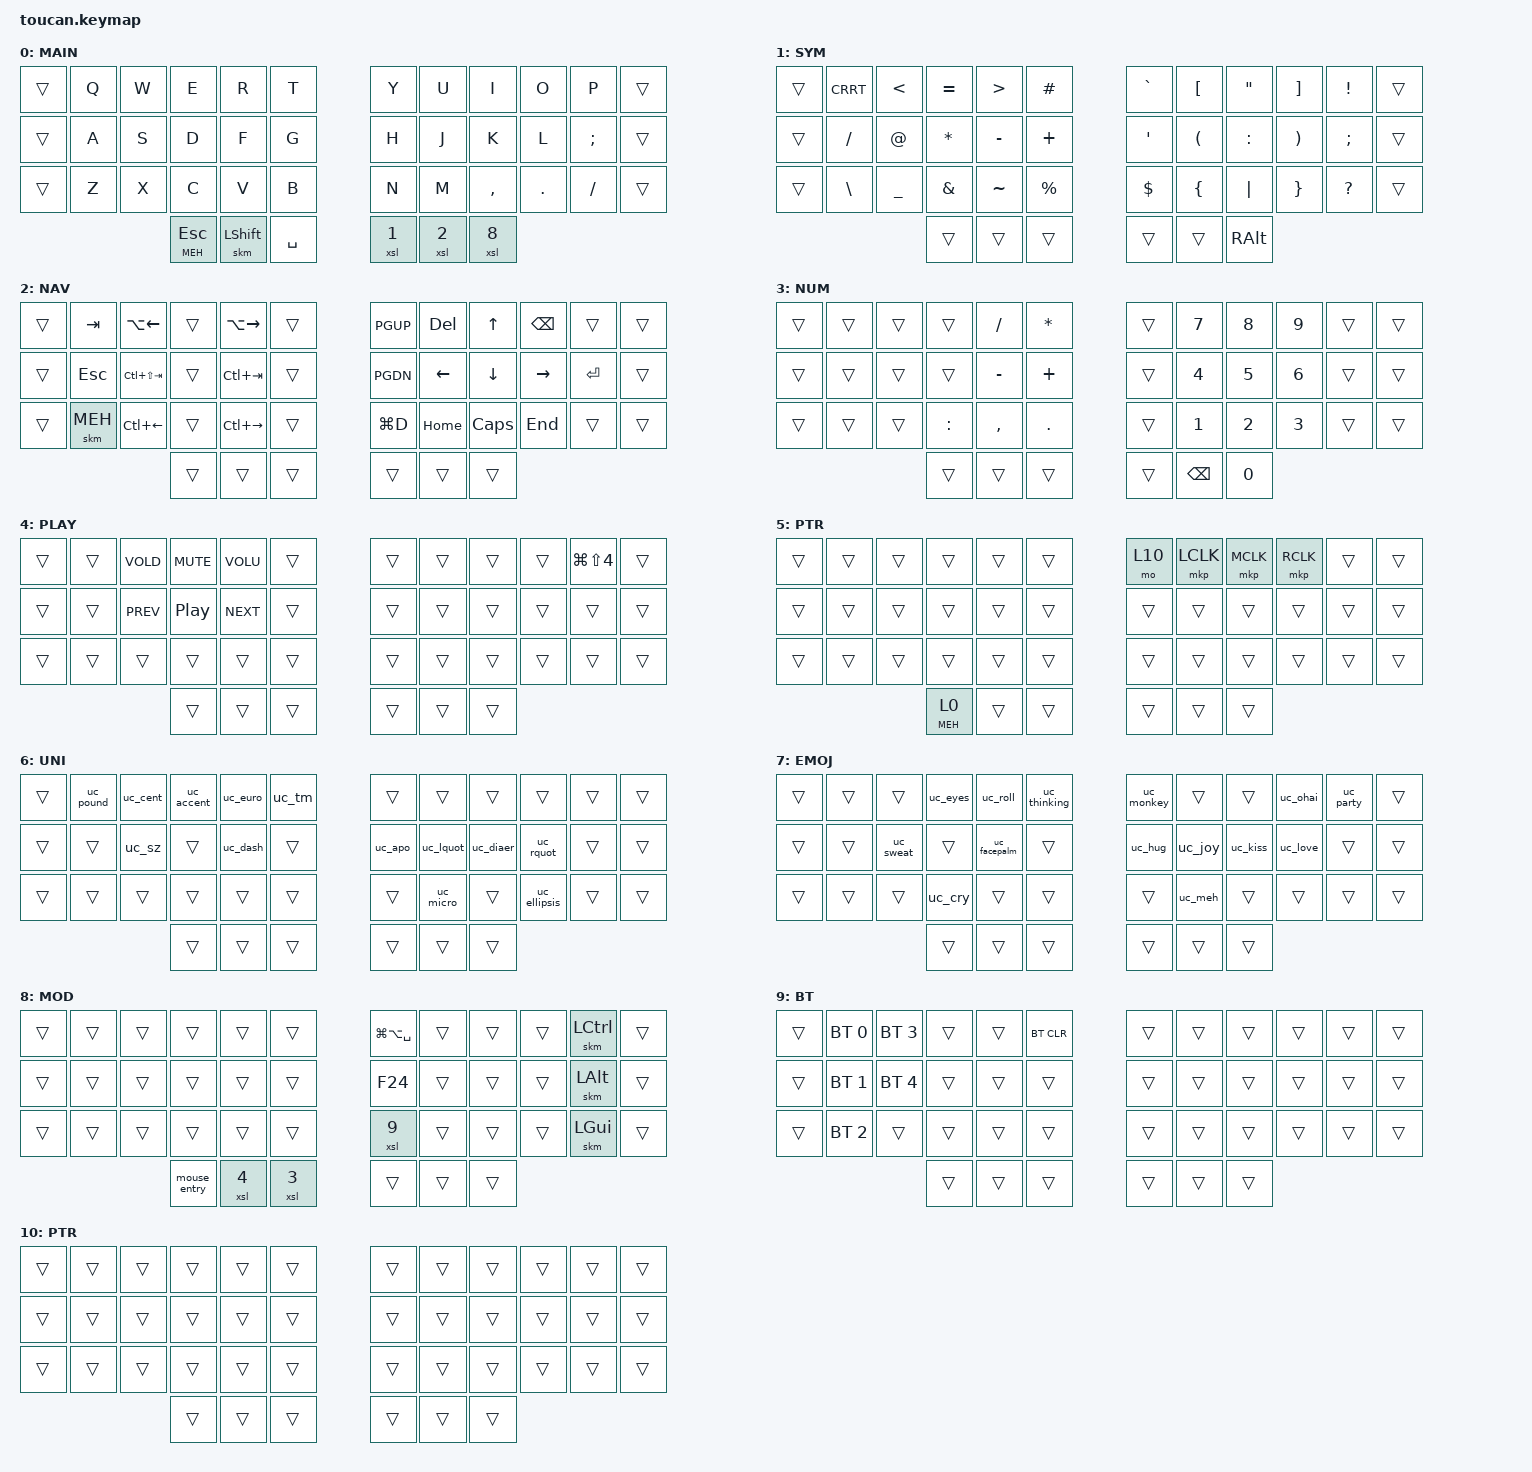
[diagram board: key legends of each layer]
/*
 * Copyright (c) 2020 The ZMK Contributors
 *
 * SPDX-License-Identifier: MIT
 */

#include <behaviors.dtsi>
#include <input/processors.dtsi>
#include <zephyr/dt-bindings/input/input-event-codes.h>
#include <dt-bindings/zmk/keys.h>
#include <dt-bindings/zmk/bt.h>
#include <dt-bindings/zmk/pointing.h>


#define HYPER (LG(LS(LA(LCTRL))))
#define MEH (LG(LA(LCTRL)))

&sk {
	release-after-ms = <1000>;
	quick-release;
};

/ {
		behaviors {
			meh_esc: meh_esc {
			    compatible = "zmk,behavior-hold-tap";
			    #binding-cells = <2>;
			    flavor = "hold-preferred";
			    tapping-term-ms = <200>;
			    quick-tap-ms = <200>;
			    bindings = <&kp>, <&kp>;
			};
			meh_base: meh_base {
			    compatible = "zmk,behavior-hold-tap";
			    #binding-cells = <2>;
			    flavor = "hold-preferred";
			    tapping-term-ms = <200>;
			    quick-tap-ms = <200>;
			    bindings = <&kp>, <&to>;
			};
			mouse_entry: mouse_entry {
			    compatible = "zmk,behavior-tap-dance";
			    #binding-cells = <0>;
			    tapping-term-ms = <200>;
			    bindings = <&xsl 6>, <&to 5>;
			};
			skm: sticky_mods {
			    compatible = "zmk,behavior-sticky-key";
			    #binding-cells = <1>;
			    release-after-ms = <5000>;
			    quick-release;
			    ignore-modifiers;
			    bindings = <&kp>;
			};
		};

		input_processors {
			touch_pointer_layer: touch_pointer_layer {
				compatible = "zmk,input-processor-behaviors";
				#input-processor-cells = <0>;
				codes = <INPUT_BTN_TOUCH>;
				bindings = <&mo 5>;
			};
		};

		macros {
	        // A sticky layer that first turns off every other layer. A plain
	        // &sl ends only on a keycode, so layer keys stack layers.
	        xsl: exclusive_sticky_layer {
	            compatible = "zmk,behavior-macro-one-param";
	            #binding-cells = <1>;
	            wait-ms = <0>;
	            tap-ms = <0>;
	            bindings
	                = <&macro_tap &to 0>
	                , <&macro_param_1to1>, <&macro_press &sl MACRO_PLACEHOLDER>
	                , <&macro_pause_for_release>
	                , <&macro_param_1to1>, <&macro_release &sl MACRO_PLACEHOLDER>
	                ;
	        };
	        uc_dash: uc_dash {
	            label = "UNICODE_DASH";
	            compatible = "zmk,behavior-macro";
	            #binding-cells = <0>;
	            tap-ms = <0>;
	            wait-ms = <0>;
	            bindings
	                = <&macro_press &kp RALT>
	                , <&macro_tap &kp N2 &kp N0 &kp N1 &kp N4>
	                , <&macro_release &kp RALT>
	                ;
	        };
	        uc_apo: uc_apo {
	            label = "UNICODE_APOSTROPHE";
	            compatible = "zmk,behavior-macro";
	            #binding-cells = <0>;
	            tap-ms = <0>;
	            wait-ms = <0>;
	            bindings
	                = <&macro_press &kp RALT>
	                , <&macro_tap &kp N2 &kp N0 &kp N1 &kp N9>
	                , <&macro_release &kp RALT>
	                ;
	        };
	        uc_lquot: uc_lquot {
	            label = "UNICODE_LEFT_QUOTE";
	            compatible = "zmk,behavior-macro";
	            #binding-cells = <0>;
	            tap-ms = <0>;
	            wait-ms = <0>;
	            bindings
	                = <&macro_press &kp RALT>
	                , <&macro_tap &kp N2 &kp N0 &kp N1 &kp C>
	                , <&macro_release &kp RALT>
	                ;
	        };
	        uc_rquot: uc_rquot {
	            label = "UNICODE_RIGHT_QUOTE";
	            compatible = "zmk,behavior-macro";
	            #binding-cells = <0>;
	            tap-ms = <0>;
	            wait-ms = <0>;
	            bindings
	                = <&macro_press &kp RALT>
	                , <&macro_tap &kp N2 &kp N0 &kp N1 &kp D>
	                , <&macro_release &kp RALT>
	                ;
	        };
	        uc_sz: uc_sz {
	            label = "UNICODE_SZ";
	            compatible = "zmk,behavior-macro";
	            #binding-cells = <0>;
	            tap-ms = <0>;
	            wait-ms = <0>;
	            bindings
	                = <&macro_press &kp RALT>
	                , <&macro_tap &kp N0 &kp N0 &kp D &kp F>
	                , <&macro_release &kp RALT>
	                ;
	        };
	        uc_euro: uc_euro {
	            label = "UNICODE_EURO";
	            compatible = "zmk,behavior-macro";
	            #binding-cells = <0>;
	            tap-ms = <0>;
	            wait-ms = <0>;
	            bindings
	                = <&macro_press &kp RALT>
	                , <&macro_tap &kp N2 &kp N0 &kp A &kp C>
	                , <&macro_release &kp RALT>
	                ;
	        };
	        uc_pound: uc_pound {
	            label = "UNICODE_POUND";
	            compatible = "zmk,behavior-macro";
	            #binding-cells = <0>;
	            tap-ms = <0>;
	            wait-ms = <0>;
	            bindings
	                = <&macro_press &kp RALT>
	                , <&macro_tap &kp N0 &kp N0 &kp A &kp N3>
	                , <&macro_release &kp RALT>
	                ;
	        };
	        uc_tm: uc_tm {
	            label = "UNICODE_TRADEMARK";
	            compatible = "zmk,behavior-macro";
	            #binding-cells = <0>;
	            tap-ms = <0>;
	            wait-ms = <0>;
	            bindings
	                = <&macro_press &kp RALT>
	                , <&macro_tap &kp N2 &kp N1 &kp N2 &kp N2>
	                , <&macro_release &kp RALT>
	                ;
	        };
	        uc_joy: uc_joy {
	            label = "UNICODE_EMOJI_JOY";
	            compatible = "zmk,behavior-macro";
	            #binding-cells = <0>;
	            tap-ms = <0>;
	            wait-ms = <0>;
	            bindings
	                = <&macro_press &kp RALT>
	                , <&macro_tap &kp D &kp N8 &kp N3 &kp D>
	                , <&macro_tap &kp D &kp E &kp N0 &kp N2>
	                , <&macro_release &kp RALT>
	                ;
	        };
	        uc_sweat: uc_sweat {
	            label = "UNICODE_EMOJI_SWEAT";
	            compatible = "zmk,behavior-macro";
	            #binding-cells = <0>;
	            tap-ms = <0>;
	            wait-ms = <0>;
	            bindings
	                = <&macro_press &kp RALT>
	                , <&macro_tap &kp D &kp N8 &kp N3 &kp D>
	                , <&macro_tap &kp D &kp E &kp N0 &kp N5>
	                , <&macro_release &kp RALT>
	                ;
	        };
	        uc_cry: uc_cry {
	            label = "UNICODE_EMOJI_CRY";
	            compatible = "zmk,behavior-macro";
	            #binding-cells = <0>;
	            tap-ms = <0>;
	            wait-ms = <0>;
	            bindings
	                = <&macro_press &kp RALT>
	                , <&macro_tap &kp D &kp N8 &kp N3 &kp D>
	                , <&macro_tap &kp D &kp E &kp N2 &kp D>
	                , <&macro_release &kp RALT>
	                ;
	        };
	        uc_meh: uc_meh {
	            label = "UNICODE_EMOJI_MEH";
	            compatible = "zmk,behavior-macro";
	            #binding-cells = <0>;
	            tap-ms = <0>;
	            wait-ms = <0>;
	            bindings
	                = <&macro_press &kp RALT>
	                , <&macro_tap &kp D &kp N8 &kp N3 &kp E>
	                , <&macro_tap &kp D &kp D &kp N3 &kp N7>
	                , <&macro_release &kp RALT>
	                ;
	        };
	        uc_kiss: uc_kiss {
	            label = "UNICODE_EMOJI_KISS";
	            compatible = "zmk,behavior-macro";
	            #binding-cells = <0>;
	            tap-ms = <0>;
	            wait-ms = <0>;
	            bindings
	                = <&macro_press &kp RALT>
	                , <&macro_tap &kp D &kp N8 &kp N3 &kp D>
	                , <&macro_tap &kp D &kp E &kp N1 &kp N8>
	                , <&macro_release &kp RALT>
	                ;
	        };
	        uc_ohai: uc_ohai {
	            label = "UNICODE_EMOJI_OHAI";
	            compatible = "zmk,behavior-macro";
	            #binding-cells = <0>;
	            tap-ms = <0>;
	            wait-ms = <0>;
	            bindings
	                = <&macro_press &kp RALT>
	                , <&macro_tap &kp D &kp N8 &kp N3 &kp D>
	                , <&macro_tap &kp D &kp E &kp N0 &kp F>
	                , <&macro_release &kp RALT>
	                ;
	        };
	        uc_roll: uc_roll {
	            label = "UNICODE_EMOJI_ROLL";
	            compatible = "zmk,behavior-macro";
	            #binding-cells = <0>;
	            tap-ms = <0>;
	            wait-ms = <0>;
	            bindings
	                = <&macro_press &kp RALT>
	                , <&macro_tap &kp D &kp N8 &kp N3 &kp D>
	                , <&macro_tap &kp D &kp E &kp N4 &kp N4>
	                , <&macro_release &kp RALT>
	                ;
	        };
	        uc_monkey: uc_monkey {
	            label = "UNICODE_EMOJI_MONKEY";
	            compatible = "zmk,behavior-macro";
	            #binding-cells = <0>;
	            tap-ms = <0>;
	            wait-ms = <0>;
	            bindings
	                = <&macro_press &kp RALT>
	                , <&macro_tap &kp D &kp N8 &kp N3 &kp D>
	                , <&macro_tap &kp D &kp E &kp N4 &kp N8>
	                , <&macro_release &kp RALT>
	                ;
	        };
	        uc_eyes: uc_eyes {
	            label = "UNICODE_EMOJI_EYES";
	            compatible = "zmk,behavior-macro";
	            #binding-cells = <0>;
	            tap-ms = <0>;
	            wait-ms = <0>;
	            bindings
	                = <&macro_press &kp RALT>
	                , <&macro_tap &kp D &kp N8 &kp N3 &kp D>
	                , <&macro_tap &kp D &kp C &kp N4 &kp N0>
	                , <&macro_release &kp RALT>
	                ;
	        };
	        uc_thinking: uc_thinking {
	            label = "UNICODE_EMOJI_THINKING";
	            compatible = "zmk,behavior-macro";
	            #binding-cells = <0>;
	            tap-ms = <0>;
	            wait-ms = <0>;
	            bindings
	                = <&macro_press &kp RALT>
	                , <&macro_tap &kp D &kp N8 &kp N3 &kp E>
	                , <&macro_tap &kp D &kp D &kp N1 &kp N4>
	                , <&macro_release &kp RALT>
	                ;
	        };
	        uc_facepalm: uc_facepalm {
	            label = "UNICODE_EMOJI_FACEPALM";
	            compatible = "zmk,behavior-macro";
	            #binding-cells = <0>;
	            tap-ms = <0>;
	            wait-ms = <0>;
	            bindings
	                = <&macro_press &kp RALT>
	                , <&macro_tap &kp D &kp N8 &kp N3 &kp E>
	                , <&macro_tap &kp D &kp D &kp N2 &kp N6>
	                , <&macro_release &kp RALT>
	                ;
	        };
	        uc_hug: uc_hug {
	            label = "UNICODE_EMOJI_HUG";
	            compatible = "zmk,behavior-macro";
	            #binding-cells = <0>;
	            tap-ms = <0>;
	            wait-ms = <0>;
	            bindings
	                = <&macro_press &kp RALT>
	                , <&macro_tap &kp D &kp N8 &kp N3 &kp E>
	                , <&macro_tap &kp D &kp E &kp C &kp N2>
	                , <&macro_release &kp RALT>
	                ;
	        };
	        uc_party: uc_party {
	            label = "UNICODE_EMOJI_PARTY";
	            compatible = "zmk,behavior-macro";
	            #binding-cells = <0>;
	            tap-ms = <0>;
	            wait-ms = <0>;
	            bindings
	                = <&macro_press &kp RALT>
	                , <&macro_tap &kp D &kp N8 &kp N3 &kp C>
	                , <&macro_tap &kp D &kp F &kp N8 &kp N9>
	                , <&macro_release &kp RALT>
	                ;
	        };
	        uc_love: uc_love {
	            label = "UNICODE_EMOJI_LOVE";
	            compatible = "zmk,behavior-macro";
	            #binding-cells = <0>;
	            tap-ms = <0>;
	            wait-ms = <0>;
	            bindings
	                = <&macro_press &kp RALT>
	                , <&macro_tap &kp N2 &kp N7 &kp N6 &kp N4>
	                , <&macro_release &kp RALT>
	                ;
	        };
	        uc_cent: uc_cent {
	            label = "UNICODE_CENT";
	            compatible = "zmk,behavior-macro";
	            #binding-cells = <0>;
	            tap-ms = <0>;
	            wait-ms = <0>;
	            bindings
	                = <&macro_press &kp RALT>
	                , <&macro_tap &kp N0 &kp N0 &kp A &kp N2>
	                , <&macro_release &kp RALT>
	                ;
	        };
	        uc_accent: uc_accent {
	            label = "UNICODE_COMBINING_ACUTE";
	            compatible = "zmk,behavior-macro";
	            #binding-cells = <0>;
	            tap-ms = <0>;
	            wait-ms = <0>;
	            bindings
	                = <&macro_press &kp RALT>
	                , <&macro_tap &kp N0 &kp N3 &kp N0 &kp N1>
	                , <&macro_release &kp RALT>
	                ;
	        };
	        uc_diaer: uc_diaer {
	            label = "UNICODE_COMBINING_DIAERESIS";
	            compatible = "zmk,behavior-macro";
	            #binding-cells = <0>;
	            tap-ms = <0>;
	            wait-ms = <0>;
	            bindings
	                = <&macro_press &kp RALT>
	                , <&macro_tap &kp N0 &kp N3 &kp N0 &kp N8>
	                , <&macro_release &kp RALT>
	                ;
	        };
	        uc_micro: uc_micro {
	            label = "UNICODE_MICRO";
	            compatible = "zmk,behavior-macro";
	            #binding-cells = <0>;
	            tap-ms = <0>;
	            wait-ms = <0>;
	            bindings
	                = <&macro_press &kp RALT>
	                , <&macro_tap &kp N0 &kp N3 &kp B &kp C>
	                , <&macro_release &kp RALT>
	                ;
	        };
	        uc_ellipsis: uc_ellipsis {
	            label = "UNICODE_ELLIPSIS";
	            compatible = "zmk,behavior-macro";
	            #binding-cells = <0>;
	            tap-ms = <0>;
	            wait-ms = <0>;
	            bindings
	                = <&macro_press &kp RALT>
	                , <&macro_tap &kp N2 &kp N0 &kp N2 &kp N6>
	                , <&macro_release &kp RALT>
	                ;
	        };
 	    };

        keymap {
                compatible = "zmk,keymap";

                default_layer {
                        display-name = "MAIN";
// -----------------------------------------------------------------------------------------
// |      |  Q  |  W  |  E  |  R  |  T      |   |  Y  | U  | I  | O  | P     |      |
// |      |  A  |  S  |  D  |  F  |  G      |   |  H  | J  | K  | L  | ;     |      |
// |      |  Z  |  X  |  C  |  V  |  B      |   |  N  | M  | ,  | .  | /     |      |
//                           | MEH/ESC   | SHF | SPC |   | SYM | NAV | MOD |
                        bindings = <
    &trans &kp Q &kp W &kp E &kp R &kp T         &kp Y &kp U &kp I     &kp O &kp P    &trans
    &trans &kp A &kp S &kp D &kp F &kp G         &kp H &kp J &kp K     &kp L &kp SEMI &trans
    &trans &kp Z &kp X &kp C &kp V &kp B         &kp N &kp M &kp COMMA &kp DOT      &kp FSLH &trans
                              &meh_esc MEH ESC  &skm LSHIFT &kp SPACE     &xsl 1 &xsl 2     &xsl 8
                        >;
                };
                sym {
                        display-name = "SYM";
// -----------------------------------------------------------------------------------------
// |      |  ^      |  <      |  =      |  >      |  #      |   |  `       |  [     |  "     |  ]      |  !      |      |
// |      |  /      |  @      |  *      |  -      |  +      |   |  '       |  (     |  :     |  )      |  ;      |      |
// |      |  \      |  _      |  &      |  ~      |  %      |   |  $       |  {     |  |     |  }      |  ?      |      |
//                            |         |         |         |   |          |        |        |
                        bindings = <
   &trans  &kp CRRT  &kp LT    &kp EQUAL &kp GT    &kp HASH       &kp GRAVE &kp LBKT &kp DQT  &kp RBKT  &kp EXCL  &trans
   &trans  &kp SLASH &kp AT    &kp ASTRK &kp MINUS &kp PLUS       &kp SQT   &kp LPAR &kp COLN &kp RPAR  &kp SEMI  &trans
   &trans  &kp BSLH  &kp UNDER &kp AMPS  &kp TILDE &kp PRCNT      &kp DLLR  &kp LBRC &kp PIPE &kp RBRC  &kp QMARK &trans
                               &trans    &trans    &trans         &trans    &trans   &kp RALT
                        >;
                };

                nav {
                        display-name = "NAV";
// -----------------------------------------------------------------------------------------
// |      | TAB     | ALT+LEFT |      | ALT+RIGHT |        |   | PGU    | DEL    | UP     | BSP     |       |      |
// |      | ESC     | CTL+SFT+TAB |   | CTL+TAB  |        |   | PGD    | LEFT   | DOWN   | RGHT    | RET   |      |
// |      | HYPER   | CTL+LEFT |      | CTL+RIGHT |        |   | CMD+D  | HOME   | CAPS   | END     |       |      |
  //                           |      |           |        |   |        |        |        |
                        bindings = <
    &trans &kp TAB   &kp LA(LEFT)    &trans  &kp LA(RIGHT)   &trans       &kp PGUP &kp DEL  &kp UP   &kp BSPC  &trans  &trans
    &trans &kp ESC   &kp LC(LS(TAB)) &trans &kp LC(TAB) &trans     &kp PGDN &kp LEFT &kp DOWN &kp RIGHT &kp RET &trans
    &trans &skm MEH  &kp LC(LEFT)    &trans  &kp LC(RIGHT)   &trans       &kp LG(D) &kp HOME &kp CAPS &kp END  &trans  &trans
                                     &trans  &trans           &trans       &trans   &trans   &trans
                        >;
                };

                num {
                        display-name = "NUM";
// -----------------------------------------------------------------------------------------
// |      |       |      |      |   /   |   *    |   |         |   7    |   8    |    9    |       |      |
// |      |       |      |      |   -   |   +    |   |         |   4    |   5    |    6    |       |      |
// |      |       |      |  :   |   ,   |   .    |   |         |   1    |   2    |    3    |       |      |
//                       |      |       |        |   |         |  BSP   |   0    |
                        bindings = <
    &trans &trans  &trans &trans &kp FSLH &kp ASTRK   &trans    &kp N7   &kp N8   &kp N9    &trans  &trans
    &trans &trans  &trans &trans &kp MINUS &kp PLUS   &trans    &kp N4   &kp N5   &kp N6    &trans  &trans
    &trans &trans  &trans &kp COLN &kp COMMA &kp DOT  &trans    &kp N1   &kp N2   &kp N3    &trans  &trans
                          &trans &trans    &trans      &trans    &kp BSPC &kp N0
                        >;
                };

		        media {
                        display-name = "PLAY";
// -----------------------------------------------------------------------------------------
// |      | BT 1       | VOLD     | MUTE     | VOLU     |              |   |              |              |              | SCREENSHOT    |       |      |
// |      | BT 2       | PREV     | PLAY     | NEXT     |              |   |              |              |              |               |       |      |
// |      | BT 3       |          |          |          | BT CLR       |   |              |              |              |               |       |      |
//                                |          |          |              |   |              |              |              |
                        bindings = <
    &trans &trans       &kp VOLD   &kp K_MUTE &kp VOLU   &trans             &trans         &trans         &trans         &trans          &kp LG(LS(N4)) &trans
    &trans &trans       &kp C_PREV &kp C_PP   &kp C_NEXT &trans             &trans         &trans         &trans         &trans          &trans  &trans
    &trans &trans       &trans     &trans     &trans     &trans             &trans         &trans         &trans         &trans          &trans  &trans
                                   &trans     &trans     &trans             &trans         &trans         &trans
                        >;
                };

				mouse {
                        display-name = "PTR";
// -----------------------------------------------------------------------------------------
// |            |       |          |          |          |        |   | SCROLL      | LCLICK       | MCLICK       | RCLICK        |       |      |
// |            |       |          |          |          |        |   |             |              |              |               |       |      |
// |            |       |          |          |          |        |   |             |              |              |               |       |      |
//                                 | MEH/BASE |          |        |   |              |              |              |
                        bindings = <
    &trans       &trans  &trans     &trans     &trans     &trans       &mo 10         &mkp LCLK      &mkp MCLK      &mkp RCLK       &trans  &trans
    &trans       &trans  &trans     &trans     &trans     &trans       &trans         &trans         &trans         &trans          &trans  &trans
    &trans       &trans  &trans     &trans     &trans     &trans       &trans         &trans         &trans         &trans          &trans  &trans
                                    &meh_base MEH 0 &trans &trans       &trans         &trans         &trans
                        >;
                };

				unicode {
                        display-name = "UNI";
// -----------------------------------------------------------------------------------------
// |            | pound   | cent     | accent   | euro     | tm     |   |              |              |              |               |       |      |
// |            |         |   sz     |          | em dash  |        |   |   apo        |  l quot      | diaeresis    | r quot        |       |      |
// |            |         |          |          |          |        |   |              |  micro       |              | ellipsis      |       |      |
//                                   |          |          |        |   |              |              |              |
                        bindings = <
    &trans       &uc_pound &uc_cent   &uc_accent &uc_euro   &uc_tm       &trans         &trans         &trans         &trans           &trans  &trans
    &trans       &trans    &uc_sz     &trans     &uc_dash   &trans       &uc_apo        &uc_lquot      &uc_diaer      &uc_rquot        &trans  &trans
    &trans       &trans    &trans     &trans     &trans     &trans       &trans         &uc_micro      &trans         &uc_ellipsis     &trans  &trans
                                      &trans     &trans     &trans       &trans         &trans         &trans
                        >;
                };

				emoji {
                        display-name = "EMOJ";
// -----------------------------------------------------------------------------------------
// |            |         |          |  eyes    | roll       | think  |   | monkey       |              |              | ohai          | party    |      |
// |            |         | sweat    |          | facpalm    |        |   | hug          | joy          | kiss         | love          |          |      |
// |            |         |          |  cry     |            |        |   |              | meh          |              |               |          |      |
//                                   |          |            |        |   |              |              |              |
                        bindings = <
    &trans       &trans    &trans     &uc_eyes   &uc_roll     &uc_thinking &uc_monkey     &trans         &trans         &uc_ohai         &uc_party &trans
    &trans       &trans    &uc_sweat  &trans     &uc_facepalm &trans       &uc_hug        &uc_joy        &uc_kiss       &uc_love         &trans    &trans
    &trans       &trans    &trans     &uc_cry    &trans       &trans       &trans         &uc_meh        &trans         &trans           &trans    &trans
                                      &trans     &trans       &trans       &trans         &trans         &trans
                        >;
                };

                tapmods {
                        display-name = "MOD";
// -----------------------------------------------------------------------------------------
// |      |       |      |      |      |        |   |        |        |        |         | Ctrl  |      |
// |      |       |      |      |      |        |   | KVM    |        |        |         | Alt   |      |
// |      |       |      |      |      |        |   | KBD    |        |        |         | Super |      |
//                       | UC/PTR | MEDIA |  NUM   |   |        |        |        |
                        bindings = <
    &trans       &trans       &trans &trans &trans &trans       &kp LG(LA(SPACE)) &trans    &trans    &trans    &skm LCTRL &trans
    &trans       &trans       &trans &trans &trans &trans       &kp F24   &trans    &trans    &trans    &skm LALT  &trans
    &trans       &trans       &trans &trans &trans &trans       &xsl 9    &trans    &trans    &trans    &skm LGUI  &trans
                 &mouse_entry &xsl 4 &xsl 3                         &trans    &trans    &trans
                        >;
                };

                keyboard {
                        display-name = "BT";
// -----------------------------------------------------------------------------------------
// |      | BT1   | BT4  |      |      | BT CLR |   |        |        |        |         |       |      |
// |      | BT2   | BT5  |      |      |        |   |        |        |        |         |       |      |
// |      | BT3   |      |      |      |        |   |        |        |        |         |       |      |
//                       |      |       |       |   |        |        |        |
                        bindings = <
    &trans       &bt BT_SEL 0 &bt BT_SEL 3 &trans &trans &bt BT_CLR   &trans    &trans    &trans    &trans    &trans &trans
    &trans       &bt BT_SEL 1 &bt BT_SEL 4 &trans &trans &trans       &trans    &trans    &trans    &trans    &trans &trans
    &trans       &bt BT_SEL 2 &trans &trans &trans &trans       &trans    &trans    &trans    &trans    &trans &trans
                 &trans       &trans  &trans                         &trans    &trans    &trans
                        >;
                };

                pointer_scroll {
                        display-name = "PTR";
                        bindings = <
    &trans &trans &trans &trans &trans &trans       &trans &trans &trans &trans &trans &trans
    &trans &trans &trans &trans &trans &trans       &trans &trans &trans &trans &trans &trans
    &trans &trans &trans &trans &trans &trans       &trans &trans &trans &trans &trans &trans
                                    &trans &trans &trans       &trans &trans &trans
                        >;
                };

// 				template {
// // -----------------------------------------------------------------------------------------
// // |            |         |          |          |          |        |   |              |              |              |               |       |      |
// // |            |         |          |          |          |        |   |              |              |              |               |       |      |
// // |            |         |          |          |          |        |   |              |              |              |               |       |      |
// //                                   |          |          |        |   |              |              |              |
//                         bindings = <
//     &trans       &trans    &trans     &trans     &trans     &trans       &trans         &trans         &trans         &trans           &trans  &trans
//     &trans       &trans    &trans     &trans     &trans     &trans       &trans         &trans         &trans         &trans           &trans  &trans
//     &trans       &trans    &trans     &trans     &trans     &trans       &trans         &trans         &trans         &trans           &trans  &trans
//                                       &trans     &trans     &trans       &trans         &trans         &trans
//                         >;
//                 };
        };
};

#ifdef TOUCAN_RIGHT_HALF
// Disable pinch-to-zoom so two-finger movement is always reported as scroll.
&tps43_trackpad {
        /delete-property/ zoom;
};
#endif

&trackpad_listener {
        input-processors = <
                &zip_xy_scaler 100 100
                &zip_scroll_scaler 1 20
                &touch_pointer_layer
                &swipe_button_mapper
        >;

        scroller {
                layers = <1 2 10>;
                input-processors = <
                        &zip_xy_to_scroll_mapper
                        &zip_scroll_scaler 1 20
                        &zip_scroll_transform INPUT_TRANSFORM_X_INVERT
                >;
        };
};

